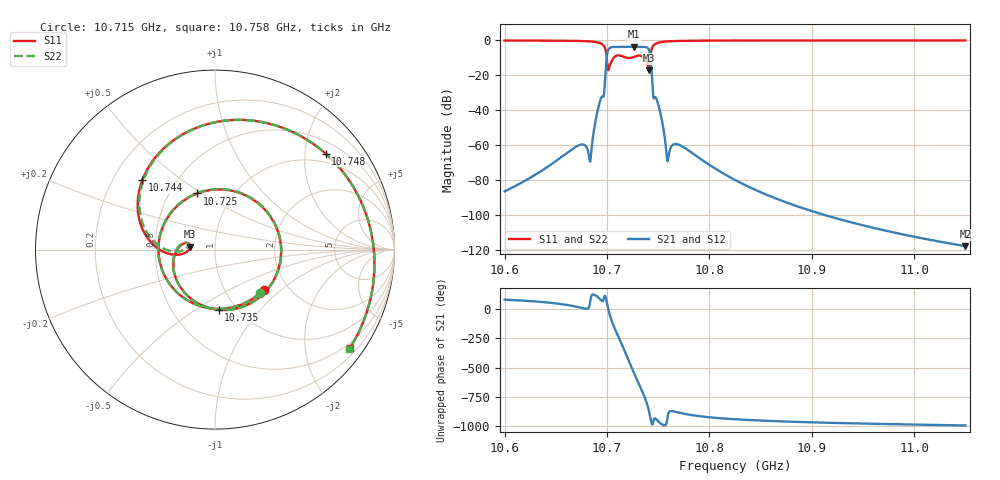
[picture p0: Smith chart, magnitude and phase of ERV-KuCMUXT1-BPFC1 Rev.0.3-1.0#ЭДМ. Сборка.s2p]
! TOUCHSTONE file generated by CST MICROWAVE STUDIO
! Date and time: Thu Mar 12 11:40:53 2026
! Project name: ERV-KuCMUXT1-BPFC1 Rev.0.3-1.0#ÝÄÌ. Ñáîðêà.cst
! Parameters = {cavity_h=19; cavity_l0=10; cavity_l1=17.9702; cavity_l2=19.8539; cavity_l3=20.312; cavity_l4=20.4013; cavity_l5=20.6797; cavity_r=2.5; cavity_screw_l=0.5; cavity_screw_r=1.5; cavity_w=9.5; iris_h00=0; iris_h01=10.25; iris_h110=0; iris_h12=6.42; iris_h23=5.85; iris_h29=4.11; iris_h34=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
! Header version: 2024
! Port assignment regex: !\s*Touchstone port\s*([0-9]+)\s*=\s*(CST MWS port|CST DES external port|CST DES block port)\s*(.+)\s* \(\"(.*)\"\)(\s*mode\s*([0-9]+))?.*
! Touchstone port assignment:
! Touchstone port 1 = CST MWS port 1 ("")
! Touchstone port 2 = CST MWS port 2 ("")
# GHz S RI R 50
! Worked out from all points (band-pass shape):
!   5001 points, 10.6 GHz to 11.05 GHz, reference 50 ohm
!   highest |S21| = -3.62 dB at 10.726 GHz (marker M1); lowest = -117.6 dB at 11.05 GHz (marker M2)
!   |S21| within 3 dB of the highest: 10.70059 GHz to 10.7416 GHz (41.01 MHz wide, 0.383 % of centre)
!   lowest |S11| = -17.1 dB at 10.741 GHz (marker M3), VSWR 1.32, Z = 37.9 + j1.27 ohm
!   |S11| at or under -10 dB: 10.69976 GHz to 10.70659 GHz (6.824 MHz wide, 0.0638 % of centre); 10.72034 GHz to 10.72262 GHz (2.283 MHz wide, 0.0213 % of centre); 10.73611 GHz to 10.74226 GHz (6.144 MHz wide, 0.0572 % of centre)
!   |S22| runs from -17.8 to 0.0 dB; largest |S21 - S12| = 1.4e-09
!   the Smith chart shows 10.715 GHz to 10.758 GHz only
!   S11 on the Smith chart (normalised r, x): 10.715 GHz: 1.51, -0.77; 10.725 GHz: 0.68, +0.48; 10.735 GHz: 0.83, -0.63; 10.744 GHz: 0.32, +0.36; 10.748 GHz: 0.77, +2.47; 10.758 GHz: 0.37, -3.01
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10.6  -0.9809 0.1425  8.57e-06 4.78e-05  8.57e-06 4.78e-05  -0.9809 0.1424
10.67506  -0.179 0.9416  0.00105 0.00018  0.00105 0.00018  -0.1763 0.9419
10.6837  0.2849 0.8876  0.000117 0.000336  0.000117 0.000336  0.2904 0.8853
10.6927  0.826 0.1773  0.000485 0.0163  0.000485 0.0163  0.8272 0.1603
10.69711  0.377 -0.5722  -0.00406 0.0297  -0.00406 0.0297  0.3474 -0.5835
10.70206  -0.1262 -0.109  0.4984 -0.3044  0.4984 -0.3044  -0.121 -0.1062
10.70845  0.0413 0.3533  -0.6464 0.0555  -0.6464 0.0555  0.046 0.3514
10.71502  0.2714 -0.2235  0.4445 0.4756  0.4445 0.4756  0.2511 -0.2404
10.72087  -0.2967 -0.1067  0.1826 -0.6302  0.1826 -0.6302  -0.3082 -0.0699
10.72519  -0.0997 0.3126  -0.632 -0.1863  -0.632 -0.1863  -0.0747 0.3234
10.72591  -0.0158 0.333  -0.6587 -0.0214  -0.6587 -0.0214  0.00816 0.3372
10.73059  0.3681 0.00419  -0.00582 0.6563  -0.00582 0.6563  0.3699 -0.00405
10.73518  0.0207 -0.3351  0.655 0.00788  0.655 0.00788  0.0166 -0.335
10.74094  -0.138 0.0165  -0.4766 -0.2554  -0.4766 -0.2554  -0.1508 0.0215
10.74355  -0.405 0.3873  -0.0344 0.1316  -0.0344 0.1316  -0.3865 0.417
10.74805  0.6158 0.5351  -0.0165 0.0147  -0.0165 0.0147  0.6302 0.5229
10.75003  0.8163 0.261  -0.00748 0.0128  -0.00748 0.0128  0.8224 0.2484
10.75786  0.7501 -0.5503  -0.000109 0.000678  -0.000109 0.000678  0.7476 -0.5547
10.825  -0.6802 -0.7196  -7.67e-05 6.88e-05  -7.67e-05 6.88e-05  -0.6803 -0.7195
10.90006  -0.9275 -0.3582  -4.95e-06 1.23e-05  -4.95e-06 1.23e-05  -0.9275 -0.3583
10.97503  -0.9892 -0.1102  -4.19e-07 3.48e-06  -4.19e-07 3.48e-06  -0.9892 -0.1103
11.05  -0.9919 0.0883  1.09e-07 1.32e-06  1.09e-07 1.32e-06  -0.9919 0.0881
